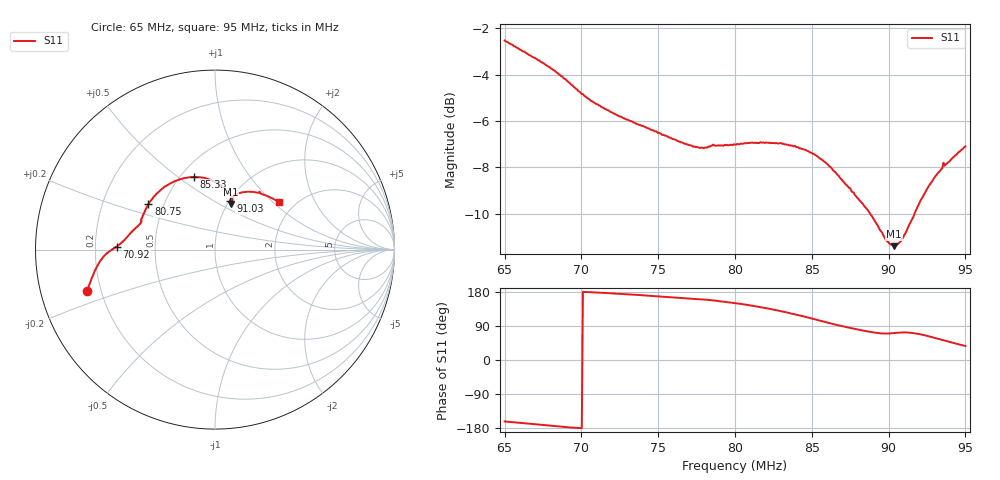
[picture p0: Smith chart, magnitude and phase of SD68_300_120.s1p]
! NanoVNA-App
! Date: 2025-08-09 13:29:00
! Start: 65MHz Stop: 95MHz Points: 401
! S-Parameter data: F S11
# Hz S RI R 50
!  Frequency  S11_Real  S11_Imag
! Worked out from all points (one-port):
!   401 points, 65 MHz to 95 MHz, reference 50 ohm
!   lowest |S11| = -11.4 dB at 90.35 MHz (marker M1), VSWR 1.74, Z = 51.7 + j28.4 ohm
!   |S11| at or under -10 dB: 88.8 MHz to 91.68 MHz (2.877 MHz wide, 3.19 % of centre)
!   S11 on the Smith chart (normalised r, x): 65 MHz: 0.15, -0.15; 70.92 MHz: 0.29, +0.01; 80.75 MHz: 0.41, +0.26; 85.33 MHz: 0.58, +0.57; 91.03 MHz: 1.01, +0.60; 95 MHz: 1.65, +1.09
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6.5e7  -0.7111 -0.2285
6.74e7  -0.6621 -0.1047
6.875e7  -0.6233 -0.0411
6.9725e7  -0.5853 -0.00795
7.0925e7  -0.546 0.017
7.25e7  -0.5101 0.0477
7.625e7  -0.4366 0.1251
7.745e7  -0.4156 0.1455
7.82e7  -0.41 0.1579
8e7  -0.3868 0.2216
8.075e7  -0.371 0.2525
8.2175e7  -0.322 0.3147
8.375e7  -0.2337 0.3764
8.465e7  -0.1708 0.3979
8.5325e7  -0.117 0.4047
8.615e7  -0.0526 0.3969
8.75e7  0.0348 0.3576
8.8325e7  0.0692 0.325
8.9075e7  0.0927 0.292
8.99e7  0.0951 0.2594
9.035e7  0.088 0.2548
9.065e7  0.0833 0.2607
9.1025e7  0.0854 0.272
9.125e7  0.0886 0.2814
9.2075e7  0.128 0.3127
9.305e7  0.2033 0.3227
9.3725e7  0.2578 0.3115
9.5e7  0.3539 0.2648
